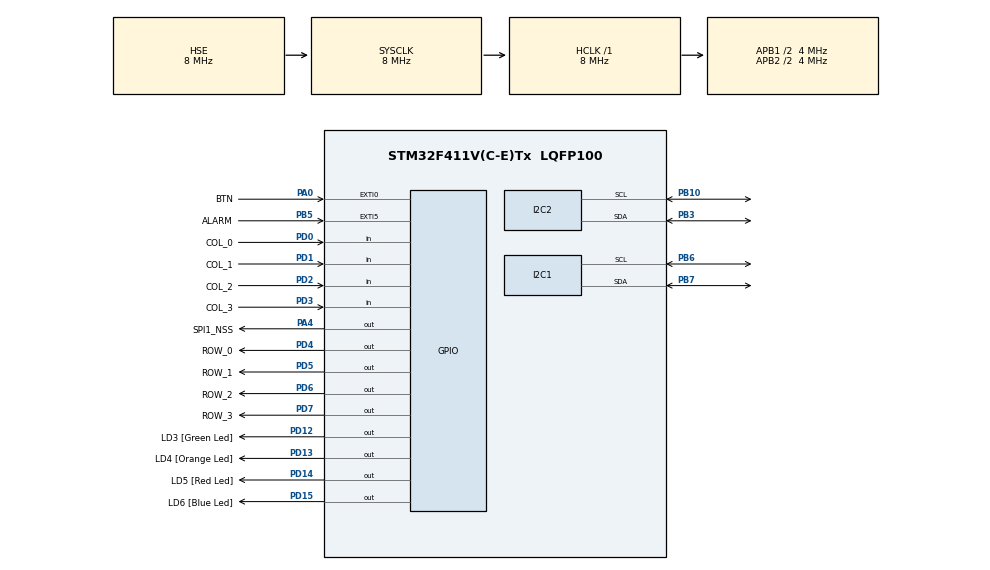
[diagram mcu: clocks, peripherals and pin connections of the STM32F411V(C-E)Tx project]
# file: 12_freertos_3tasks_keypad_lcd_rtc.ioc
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I2C2.DualAddressMode=I2C_DUALADDRESS_DISABLE
I2C2.GeneralCallMode=I2C_GENERALCALL_DISABLE
I2C2.I2C_Mode=I2C_Standard
I2C2.NoStretchMode=I2C_NOSTRETCH_ENABLE
Mcu.Family=STM32F4
Mcu.Name=STM32F411V(C-E)Tx
Mcu.Package=LQFP100
NVIC.EXTI0_IRQn=true\:8\:0\:true\:false\:true\:true\:true
NVIC.EXTI9_5_IRQn=true\:9\:0\:true\:false\:true\:true\:true
NVIC.PriorityGroup=NVIC_PRIORITYGROUP_4
NVIC.TIM5_IRQn=true\:15\:0\:true\:false\:true\:false\:true
NVIC.TimeBase=TIM5_IRQn
NVIC.TimeBaseIP=TIM5
PA0-WKUP.GPIO_Label=BTN
PA0-WKUP.Signal=GPXTI0
PA13.GPIO_Label=SWDIO
PA13.Signal=SYS_JTMS-SWDIO
PA14.GPIO_Label=SWCLK
PA14.Signal=SYS_JTCK-SWCLK
PA4.GPIO_Label=SPI1_NSS
PA4.GPIO_PuPd=GPIO_PULLDOWN
PA4.GPIO_Speed=GPIO_SPEED_FREQ_HIGH
PA4.PinState=GPIO_PIN_SET
PA4.Signal=GPIO_Output
PB10.GPIO_Pu=GPIO_PULLUP
PB10.Mode=I2C
PB10.Signal=I2C2_SCL
PB3.GPIO_Pu=GPIO_PULLUP
PB3.Mode=I2C
PB3.Signal=I2C2_SDA
PB5.GPIO_Label=ALARM
PB5.GPIO_ModeDefaultEXTI=GPIO_MODE_IT_FALLING
PB5.GPIO_PuPd=GPIO_PULLUP
PB5.Signal=GPXTI5
PB6.Mode=I2C
PB6.Signal=I2C1_SCL
PB7.Mode=I2C
PB7.Signal=I2C1_SDA
PD0.GPIO_Label=COL_0
PD0.GPIO_PuPd=GPIO_PULLDOWN
PD0.Signal=GPIO_Input
PD1.GPIO_Label=COL_1
PD1.GPIO_PuPd=GPIO_PULLDOWN
PD1.Signal=GPIO_Input
PD12.GPIO_Label=LD3 [Green Led]
PD12.GPIO_PuPd=GPIO_NOPULL
PD12.GPIO_Speed=GPIO_SPEED_FREQ_HIGH
PD12.Signal=GPIO_Output
PD13.GPIO_Label=LD4 [Orange Led]
PD13.GPIO_PuPd=GPIO_NOPULL
PD13.GPIO_Speed=GPIO_SPEED_FREQ_HIGH
PD13.Signal=GPIO_Output
PD14.GPIO_Label=LD5 [Red Led]
PD14.GPIO_PuPd=GPIO_NOPULL
PD14.GPIO_Speed=GPIO_SPEED_FREQ_HIGH
PD14.Signal=GPIO_Output
PD15.GPIO_Label=LD6 [Blue Led]
PD15.GPIO_PuPd=GPIO_NOPULL
PD15.GPIO_Speed=GPIO_SPEED_FREQ_HIGH
PD15.Signal=GPIO_Output
PD2.GPIO_Label=COL_2
PD2.GPIO_PuPd=GPIO_PULLDOWN
PD2.Signal=GPIO_Input
PD3.GPIO_Label=COL_3
PD3.GPIO_PuPd=GPIO_PULLDOWN
PD3.Signal=GPIO_Input
PD4.GPIO_Label=ROW_0
PD4.GPIO_PuPd=GPIO_PULLDOWN
PD4.GPIO_Speed=GPIO_SPEED_FREQ_HIGH
PD4.Signal=GPIO_Output
PD5.GPIO_Label=ROW_1
PD5.GPIO_PuPd=GPIO_PULLDOWN
PD5.GPIO_Speed=GPIO_SPEED_FREQ_HIGH
PD5.Signal=GPIO_Output
PD6.GPIO_Label=ROW_2
PD6.GPIO_PuPd=GPIO_PULLDOWN
PD6.GPIO_Speed=GPIO_SPEED_FREQ_HIGH
PD6.Signal=GPIO_Output
PD7.GPIO_Label=ROW_3
PD7.GPIO_PuPd=GPIO_PULLDOWN
PD7.GPIO_Speed=GPIO_SPEED_FREQ_HIGH
PD7.Signal=GPIO_Output
PH0\ -\ OSC_IN.Mode=HSE-External-Oscillator
PH0\ -\ OSC_IN.Signal=RCC_OSC_IN
PH1\ -\ OSC_OUT.Mode=HSE-External-Oscillator
PH1\ -\ OSC_OUT.Signal=RCC_OSC_OUT
ProjectManager.HeapSize=0x200
ProjectManager.StackSize=0x400
ProjectManager.TargetToolchain=STM32CubeIDE
RCC.48MHZClocksFreq_Value=50000000
RCC.AHBFreq_Value=8000000
RCC.APB1CLKDivider=RCC_HCLK_DIV2
RCC.APB1Freq_Value=4000000
RCC.APB1TimFreq_Value=8000000
RCC.APB2CLKDivider=RCC_HCLK_DIV2
RCC.APB2Freq_Value=4000000
RCC.APB2TimFreq_Value=8000000
RCC.CortexFreq_Value=8000000
RCC.HCLKFreq_Value=8000000
RCC.HSE_VALUE=8000000
RCC.HSI_VALUE=16000000
RCC.LSE_VALUE=32768
RCC.PLLI2SM=5
RCC.PLLI2SN=200
RCC.PLLM=4
RCC.PLLN=200
RCC.PLLP=RCC_PLLP_DIV4
RCC.PLLQ=8
RCC.PLLSourceVirtual=RCC_PLLSOURCE_HSE
RCC.SYSCLKFreq_VALUE=8000000
RCC.SYSCLKSource=RCC_SYSCLKSOURCE_HSE
RCC.VCOOutputFreq_Value=400000000
VP_SYS_VS_tim5.Mode=TIM5
board=STM32F411E-DISCO

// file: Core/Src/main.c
/* USER CODE BEGIN Header */
/**
 ******************************************************************************
 * @file           : main.c
 * @brief          : Main program body
 ******************************************************************************
 * @attention
 *
 * Copyright (c) 2023 STMicroelectronics.
 * All rights reserved.
 *
 * This software is licensed under terms that can be found in the LICENSE file
 * in the root directory of this software component.
 * If no LICENSE file comes with this software, it is provided AS-IS.
 *
 ******************************************************************************
 */

/*
 * ----------connect diagram----------------
 *
 *
 * KEYPAD 4X4	 			STM32F411
 * COL_0 (PIN_4)	--> 	PD0
 * COL_1 (PIN_3)	--> 	PD1
 * COL_2 (PIN_2)	--> 	PD2
 * COL_3 (PIN_1)	--> 	PD3
 * ROW_0 (PIN_8)	--> 	PD4
 * ROW_1 (PIN_7)	--> 	PD5
 * ROW_2 (PIN_6)	--> 	PD6
 * ROW_3 (PIN_5)	--> 	PD7
 *
 *
 * */
/* USER CODE END Header */
#include "main.h"

/* USER CODE BEGIN Includes */
#include "FreeRTOS.h"
#include "task.h"
#include <stdio.h>
#include "queue.h"
#include <string.h>

/* USER CODE END Includes */

I2C_HandleTypeDef hi2c1;
I2C_HandleTypeDef hi2c2;

/* USER CODE BEGIN PV */
#define DWT_CTRL    (*(volatile uint32_t*)0xE0001000)

TaskHandle_t keypad;
TaskHandle_t lcd;
TaskHandle_t rtc;

QueueHandle_t qdata_key;

uint8_t state0 = 0;

struct queue_user qtime;

RTC_time_t current_time;
RTC_date_t current_date;

RTC_time_t time_alarm1;
RTC_date_t date_alarm1;

struct state_machine state;

/* USER CODE END PV */

void SystemClock_Config(void);
static void MX_GPIO_Init(void);
static void MX_I2C1_Init(void);
static void MX_I2C2_Init(void);
/* USER CODE BEGIN PFP */

extern void SEGGER_SYSVIEW_Conf(void);
extern void SEGGER_SYSVIEW_Start(void);

void btn_user(void);
static void handle_keypad(void *parameters);
static void handle_lcd(void *parameters);
static void handle_rtc(void *parameters);

char* time_to_string(RTC_time_t *rtc_time);
char* date_to_string(RTC_date_t *rtc_date);
void day_to_string(uint8_t day, char *buf);
void am_pm_to_string(uint8_t am_pm, char *buf);

/* USER CODE END PFP */

/* USER CODE BEGIN 0 */
extern void SEGGER_UART_init(uint32_t);

/* USER CODE END 0 */

int main(void) {
	/* USER CODE BEGIN 1 */

	BaseType_t status;
	current_time.hours = 1;
	current_time.minutes = 1;
	current_time.seconds = 1;
	current_time.am_pm = 1;
	current_time.time_format = TIME_FORMAT_12HRS_PM;

	time_alarm1.hours = 1;
	time_alarm1.minutes = 1;
	time_alarm1.seconds = 1;
	time_alarm1.am_pm = 1;
	time_alarm1.time_format = TIME_FORMAT_12HRS_PM;
	date_alarm1.day = SUNDAY
	;

	current_date.day = SUNDAY
	;
	current_date.date = 1;
	current_date.month = 1;
	current_date.year = 1;

	/* USER CODE END 1 */

	/* MCU Configuration--------------------------------------------------------*/

	/* Reset of all peripherals, Initializes the Flash interface and the Systick. */
	HAL_Init();

	/* Configure the system clock */
	SystemClock_Config();

	/* Initialize all configured peripherals */
	MX_GPIO_Init();
	MX_I2C1_Init();
	MX_I2C2_Init();
	/* USER CODE BEGIN 2 */

	//Enable the CYCCNT counter.
	DWT_CTRL |= (1 << 0);

//	SEGGER_SYSVIEW_Conf();
//	SEGGER_SYSVIEW_Start();
//
//	SEGGER_UART_init(500000);
	lcd_init_i2c();
	lcd_display_clear_i2c();

	if (ds3231_init()) {
		printf("RTC init has failed\n");
		while (1)
			;
	}

	status = xTaskCreate(handle_keypad, "keypad_task", 500,
			"this is task keypad", 3, &keypad);
	configASSERT(status == pdPASS);

	status = xTaskCreate(handle_lcd, "lcd_task", 500, "this is task lcd", 3,
			&lcd);
	configASSERT(status == pdPASS);

	status = xTaskCreate(handle_rtc, "rtc_task", 500, "this is task rtc", 2,
			&rtc);
	configASSERT(status == pdPASS);

	qdata_key = xQueueCreate(1, sizeof(struct state_machine));
	if (qdata_key == NULL) {
		/* Queue was not created and must not be used. */
	}

	vTaskStartScheduler();
	/* USER CODE END 2 */

	/* Infinite loop */
	while (1) {

	}
}

void SystemClock_Config(void) {
	RCC_OscInitTypeDef RCC_OscInitStruct = { 0 };
	RCC_ClkInitTypeDef RCC_ClkInitStruct = { 0 };

	/** Configure the main internal regulator output voltage
	 */
	__HAL_RCC_PWR_CLK_ENABLE();
	__HAL_PWR_VOLTAGESCALING_CONFIG(PWR_REGULATOR_VOLTAGE_SCALE1);
	/** Initializes the RCC Oscillators according to the specified parameters
	 * in the RCC_OscInitTypeDef structure.
	 */
	RCC_OscInitStruct.OscillatorType = RCC_OSCILLATORTYPE_HSE;
	RCC_OscInitStruct.HSEState = RCC_HSE_ON;
	RCC_OscInitStruct.PLL.PLLState = RCC_PLL_NONE;
	if (HAL_RCC_OscConfig(&RCC_OscInitStruct) != HAL_OK) {
		Error_Handler();
	}
	/** Initializes the CPU, AHB and APB buses clocks
	 */
	RCC_ClkInitStruct.ClockType = RCC_CLOCKTYPE_HCLK | RCC_CLOCKTYPE_SYSCLK
			| RCC_CLOCKTYPE_PCLK1 | RCC_CLOCKTYPE_PCLK2;
	RCC_ClkInitStruct.SYSCLKSource = RCC_SYSCLKSOURCE_HSE;
	RCC_ClkInitStruct.AHBCLKDivider = RCC_SYSCLK_DIV1;
	RCC_ClkInitStruct.APB1CLKDivider = RCC_HCLK_DIV2;
	RCC_ClkInitStruct.APB2CLKDivider = RCC_HCLK_DIV2;

	if (HAL_RCC_ClockConfig(&RCC_ClkInitStruct, FLASH_LATENCY_0) != HAL_OK) {
		Error_Handler();
	}
}

static void MX_I2C1_Init(void) {

	hi2c1.Instance = I2C1;
	hi2c1.Init.ClockSpeed = 100000;
	hi2c1.Init.DutyCycle = I2C_DUTYCYCLE_2;
	hi2c1.Init.OwnAddress1 = 0;
	hi2c1.Init.AddressingMode = I2C_ADDRESSINGMODE_7BIT;
	hi2c1.Init.DualAddressMode = I2C_DUALADDRESS_DISABLE;
	hi2c1.Init.OwnAddress2 = 0;
	hi2c1.Init.GeneralCallMode = I2C_GENERALCALL_DISABLE;
	hi2c1.Init.NoStretchMode = I2C_NOSTRETCH_DISABLE;
	if (HAL_I2C_Init(&hi2c1) != HAL_OK) {
		Error_Handler();
	}

}

static void MX_I2C2_Init(void) {

	hi2c2.Instance = I2C2;
	hi2c2.Init.ClockSpeed = 100000;
	hi2c2.Init.DutyCycle = I2C_DUTYCYCLE_2;
	hi2c2.Init.OwnAddress1 = 0;
	hi2c2.Init.AddressingMode = I2C_ADDRESSINGMODE_7BIT;
	hi2c2.Init.DualAddressMode = I2C_DUALADDRESS_DISABLE;
	hi2c2.Init.OwnAddress2 = 0;
	hi2c2.Init.GeneralCallMode = I2C_GENERALCALL_DISABLE;
	hi2c2.Init.NoStretchMode = I2C_NOSTRETCH_ENABLE;
	if (HAL_I2C_Init(&hi2c2) != HAL_OK) {
		Error_Handler();
	}

}

static void MX_GPIO_Init(void) {
	GPIO_InitTypeDef GPIO_InitStruct = { 0 };

	/* GPIO Ports Clock Enable */
	__HAL_RCC_GPIOH_CLK_ENABLE();
	__HAL_RCC_GPIOA_CLK_ENABLE();
	__HAL_RCC_GPIOB_CLK_ENABLE();
	__HAL_RCC_GPIOD_CLK_ENABLE();

	/*Configure GPIO pin Output Level */
	HAL_GPIO_WritePin(SPI1_NSS_GPIO_Port, SPI1_NSS_Pin, GPIO_PIN_SET);

	/*Configure GPIO pin Output Level */
	HAL_GPIO_WritePin(GPIOD,
			LD3_Pin | LD4_Pin | LD5_Pin | LD6_Pin | ROW_0_Pin | ROW_1_Pin
					| ROW_2_Pin | ROW_3_Pin, GPIO_PIN_RESET);

	/*Configure GPIO pin : BTN_Pin */
	GPIO_InitStruct.Pin = BTN_Pin;
	GPIO_InitStruct.Mode = GPIO_MODE_IT_RISING;
	GPIO_InitStruct.Pull = GPIO_NOPULL;
	HAL_GPIO_Init(BTN_GPIO_Port, &GPIO_InitStruct);

	/*Configure GPIO pin : SPI1_NSS_Pin */
	GPIO_InitStruct.Pin = SPI1_NSS_Pin;
	GPIO_InitStruct.Mode = GPIO_MODE_OUTPUT_PP;
	GPIO_InitStruct.Pull = GPIO_PULLDOWN;
	GPIO_InitStruct.Speed = GPIO_SPEED_FREQ_HIGH;
	HAL_GPIO_Init(SPI1_NSS_GPIO_Port, &GPIO_InitStruct);

	/*Configure GPIO pins : LD3_Pin LD4_Pin LD5_Pin LD6_Pin */
	GPIO_InitStruct.Pin = LD3_Pin | LD4_Pin | LD5_Pin | LD6_Pin;
	GPIO_InitStruct.Mode = GPIO_MODE_OUTPUT_PP;
	GPIO_InitStruct.Pull = GPIO_NOPULL;
	GPIO_InitStruct.Speed = GPIO_SPEED_FREQ_HIGH;
	HAL_GPIO_Init(GPIOD, &GPIO_InitStruct);

	/*Configure GPIO pins : COL_0_Pin COL_1_Pin COL_2_Pin COL_3_Pin */
	GPIO_InitStruct.Pin = COL_0_Pin | COL_1_Pin | COL_2_Pin | COL_3_Pin;
	GPIO_InitStruct.Mode = GPIO_MODE_INPUT;
	GPIO_InitStruct.Pull = GPIO_PULLDOWN;
	HAL_GPIO_Init(GPIOD, &GPIO_InitStruct);

	/*Configure GPIO pins : ROW_0_Pin ROW_1_Pin ROW_2_Pin ROW_3_Pin */
	GPIO_InitStruct.Pin = ROW_0_Pin | ROW_1_Pin | ROW_2_Pin | ROW_3_Pin;
	GPIO_InitStruct.Mode = GPIO_MODE_OUTPUT_PP;
	GPIO_InitStruct.Pull = GPIO_PULLDOWN;
	GPIO_InitStruct.Speed = GPIO_SPEED_FREQ_HIGH;
	HAL_GPIO_Init(GPIOD, &GPIO_InitStruct);

	/*Configure GPIO pin : ALARM_Pin */
	GPIO_InitStruct.Pin = ALARM_Pin;
	GPIO_InitStruct.Mode = GPIO_MODE_IT_FALLING;
	GPIO_InitStruct.Pull = GPIO_PULLUP;
	HAL_GPIO_Init(ALARM_GPIO_Port, &GPIO_InitStruct);

	/* EXTI interrupt init*/
	HAL_NVIC_SetPriority(EXTI0_IRQn, 8, 0);
	HAL_NVIC_EnableIRQ(EXTI0_IRQn);

	HAL_NVIC_SetPriority(EXTI9_5_IRQn, 9, 0);
	HAL_NVIC_EnableIRQ(EXTI9_5_IRQn);

}

/* USER CODE BEGIN 4 */

void handle_keypad(void *parameters) {
	state.level = 0;
	state.en_send_number = 0;
	state.scroll = 0;
	state.position_cursor = 0;
	char key_read;
	while (1) {
		key_read = keypad_read();
		if (key_read == 'A') {
			if (state.level < 3) {
				state.level = state.level + 1;
				xQueueSend(qdata_key, (void* )&state, portMAX_DELAY);
			}

		} else if (key_read == 'B') {
			if (state.level > 0) {
				state.level = state.level - 1;
				xQueueSend(qdata_key, (void* )&state, portMAX_DELAY);
			}
		} else if (key_read == 'C') {
			if (state.level == 2) {
				state.scroll = (state.scroll + 1) % 3;
				xQueueSend(qdata_key, (void* )&state, portMAX_DELAY);
			}
		} else if (key_read == 'D') {
			if (state.level == 2) {
				state.scroll = (state.scroll + 2) % 3;
				xQueueSend(qdata_key, (void* )&state, portMAX_DELAY);
			}
		} else if (key_read == '*') {
			if (state.level == 3) {
				if (state.position_cursor == 3 || state.position_cursor == 6) {
					state.position_cursor = (state.position_cursor - 2) % 13;

				} else if (state.position_cursor == 10
						|| state.position_cursor == 0) {
					state.position_cursor = (state.position_cursor + 10) % 13;

				} else {
					state.position_cursor = (state.position_cursor - 1) % 13;
				}
				xQueueSend(qdata_key, (void* )&state, portMAX_DELAY);
			}
		} else if (key_read == '#') {
			if (state.level == 3) {
				if (state.position_cursor == 1 || state.position_cursor == 4) {
					state.position_cursor = (state.position_cursor + 2) % 13;

				} else if (state.position_cursor == 7
						|| state.position_cursor == 10) {
					state.position_cursor = (state.position_cursor + 3) % 13;

				} else {
					state.position_cursor = (state.position_cursor + 1) % 13;
				}
				xQueueSend(qdata_key, (void* )&state, portMAX_DELAY);
			}
		} else if (key_read == 'x') {

		} else {
			if (state.level == 3) {
				state.number = check_key(key_read);
				state.en_send_number = 1;
				xQueueSend(qdata_key, (void* )&state, portMAX_DELAY);

				if (state.position_cursor == 1 || state.position_cursor == 4) {
					state.position_cursor = (state.position_cursor + 2) % 13;

				} else if (state.position_cursor == 7
						|| state.position_cursor == 10) {
					state.position_cursor = (state.position_cursor + 3) % 13;

				} else {
					state.position_cursor = (state.position_cursor + 1) % 13;
				}
				state.en_send_number = 0;
			}
		}
		vTaskDelay(pdMS_TO_TICKS(50));
	}
}

void handle_lcd(void *parameters) {
	struct state_machine data_receive;

	//current time variable
	uint8_t number_array[7] = { 0 };
	uint8_t temp = 0;

	//current day variable
	uint8_t number_array_day[7] = { 0 };
	number_array_day[6] = 1;
	uint8_t temp_day = 0;

	//alarm time variable
	uint8_t temp_al = 0;
	uint8_t number_array_al[7] = { 0 };

	data_receive.level = 0;
	data_receive.en_send_number = 0;
	data_receive.scroll = 0;

	char string_l1_r0[] = "A:set  B:return";
	char string_l1_r1[] = "C:left D:right";
	char string_l2_s0_r0[] = "set current time";
//	char string_l2_s0_r1[] = "format 12 hours";

	char string_l2_s1_r0[] = "set day-date";
	char string_l2_s2_r0[] = "set alarm time";
	char string_l3_s0_r0[] = "hh:mm:ss <AM/PM>";
	char string_l3_s1_r0[] = "dd:mm:yy <day>";
	char string_l3_s2_r0[] = "hh:mm:ss <AM/PM>";

	lcd_display_clear_i2c();
	lcd_display_return_home_i2c();

	ds3231_set_current_time(&current_time);
	ds3231_set_current_date(&current_date);

	ds3231_get_current_time(&current_time);
	ds3231_get_current_date(&current_date);

	lcd_send_string(time_to_string(&current_time));
	lcd_put_cur(2, 1);
	lcd_send_string(date_to_string(&current_date));
	vTaskSuspend(rtc);

	while (1) {
		if (qdata_key != NULL) {
			if (xQueueReceive(qdata_key, &data_receive,
					(TickType_t) 100) == pdPASS) {
				lcd_send_cmd(0x0C);

				if (data_receive.level == 0) {
					lcd_display_clear_i2c();
					lcd_display_return_home_i2c();
					vTaskResume(rtc);
				}
				if (data_receive.level == 1) {
					vTaskSuspend(rtc);
					lcd_display_clear_i2c();
					lcd_display_return_home_i2c();
					lcd_send_string(string_l1_r0);
					lcd_put_cur(2, 1);
					lcd_send_string(string_l1_r1);
				}
				if (data_receive.level == 2) {
					lcd_display_clear_i2c();
					lcd_display_return_home_i2c();
					if (data_receive.scroll == 0) {
						lcd_send_string(string_l2_s0_r0);
//						lcd_put_cur(2, 1);
//						lcd_send_string(string_l2_s0_r1);
					}
					if (data_receive.scroll == 1) {
						lcd_send_string(string_l2_s1_r0);
					}
					if (data_receive.scroll == 2) {
						lcd_send_string(string_l2_s2_r0);
					}
				}
				if (data_receive.level == 3) {
					lcd_display_clear_i2c();
					lcd_display_return_home_i2c();

					if (data_receive.scroll == 0) {
						lcd_send_string(string_l3_s0_r0);
						lcd_put_cur(2, 1);
						lcd_send_string(time_to_string(&current_time));
						temp = data_receive.position_cursor + 1;

						if (data_receive.en_send_number == 1) {
							if (data_receive.position_cursor < 2) {
								number_array[data_receive.position_cursor] =
										data_receive.number;

							} else if (data_receive.position_cursor < 5
									&& data_receive.position_cursor > 2) {
								number_array[data_receive.position_cursor - 1] =
										data_receive.number;

							} else if (data_receive.position_cursor < 8
									&& data_receive.position_cursor > 5) {
								number_array[data_receive.position_cursor - 2] =
										data_receive.number;
							} else {
								number_array[6] = data_receive.number;
							}
							current_time.hours = number_array[0] * 10
									+ number_array[1];
							current_time.minutes = number_array[2] * 10
									+ number_array[3];
							current_time.seconds = number_array[4] * 10
									+ number_array[5];
							current_time.time_format = number_array[6];

							ds3231_set_current_time(&current_time);

							lcd_put_cur(2, 1);
							lcd_send_string(time_to_string(&current_time));

							if (temp == 2 || temp == 5) {
								lcd_put_cur(2, temp + 2);
							} else if (temp == 8) {
								lcd_put_cur(2, temp + 3);
							} else if (temp == 11) {
								lcd_put_cur(2, 1);
							} else {
								lcd_put_cur(2, temp + 1);
							}
						} else {

							lcd_put_cur(2, 1);
							lcd_send_string(time_to_string(&current_time));
							lcd_put_cur(2, temp);

						}

						data_receive.en_send_number = 0;
						//blink cursor on lcd
						lcd_send_cmd(0x0F);
					}

					if (data_receive.scroll == 1) {
						lcd_send_string(string_l3_s1_r0);
						lcd_put_cur(2, 1);
						lcd_send_string(date_to_string(&current_date));
						temp_day = data_receive.position_cursor + 1;

						if (data_receive.en_send_number == 1) {
							if (data_receive.position_cursor < 2) {
								number_array_day[data_receive.position_cursor] =
										data_receive.number;
							} else if (data_receive.position_cursor < 5
									&& data_receive.position_cursor > 2) {
								number_array_day[data_receive.position_cursor
										- 1] = data_receive.number;
							} else if (data_receive.position_cursor < 8
									&& data_receive.position_cursor > 5) {
								number_array_day[data_receive.position_cursor
										- 2] = data_receive.number;
							} else {
								number_array_day[6] = data_receive.number;

							}

							current_date.date = number_array_day[0] * 10
									+ number_array_day[1];
							current_date.month = number_array_day[2] * 10
									+ number_array_day[3];
							current_date.year = number_array_day[4] * 10
									+ number_array_day[5];
							current_date.day = number_array_day[6];
							ds3231_set_current_date(&current_date);

							lcd_put_cur(2, 1);
							lcd_send_string(date_to_string(&current_date));
							if (temp_day == 2 || temp_day == 5) {
								lcd_put_cur(2, temp_day + 2);
							} else if (temp_day == 8) {
								lcd_put_cur(2, temp_day + 3);
							} else if (temp_day == 11) {
								lcd_put_cur(2, 1);
							} else {
								lcd_put_cur(2, temp_day + 1);
							}
						} else {
							lcd_put_cur(2, 1);
							lcd_send_string(date_to_string(&current_date));
							lcd_put_cur(2, temp_day);
						}

						data_receive.en_send_number = 0;
						//blink cursor on lcd
						lcd_send_cmd(0x0F);
					}

					if (data_receive.scroll == 2) {
						lcd_send_string(string_l3_s2_r0);
						lcd_put_cur(2, 1);
						lcd_send_string(time_to_string(&time_alarm1));
						temp_al = data_receive.position_cursor + 1;

						if (data_receive.en_send_number == 1) {
							if (data_receive.position_cursor < 2) {
								number_array_al[data_receive.position_cursor] =
										data_receive.number;

							} else if (data_receive.position_cursor < 5
									&& data_receive.position_cursor > 2) {
								number_array_al[data_receive.position_cursor - 1] =
										data_receive.number;

							} else if (data_receive.position_cursor < 8
									&& data_receive.position_cursor > 5) {
								number_array_al[data_receive.position_cursor - 2] =
										data_receive.number;

							} else {
								number_array_al[6] = data_receive.number;

							}

							time_alarm1.hours = number_array_al[0] * 10
									+ number_array_al[1];
							time_alarm1.minutes = number_array_al[2] * 10
									+ number_array_al[3];
							time_alarm1.seconds = number_array_al[4] * 10
									+ number_array_al[5];
							time_alarm1.am_pm = number_array_al[6];
							ds3231_set_time_alarm1(&time_alarm1, &date_alarm1,
									DS3231_MB_AL1_3);
							lcd_put_cur(2, 1);
							lcd_send_string(time_to_string(&time_alarm1));

							if (temp_al == 2 || temp_al == 5) {
								lcd_put_cur(2, temp_al + 2);
							} else if (temp_al == 8) {
								lcd_put_cur(2, temp_al + 3);
							} else if (temp_al == 11) {
								lcd_put_cur(2, 1);
							} else {
								lcd_put_cur(2, temp_al + 1);
							}
						} else {

							lcd_put_cur(2, 1);
							lcd_send_string(time_to_string(&time_alarm1));
							lcd_put_cur(2, temp_al);

						}

						data_receive.en_send_number = 0;
						//blink cursor on lcd
						lcd_send_cmd(0x0F);
					}
				}
			}
		}

	}
}
void handle_rtc(void *parameters) {
//	TickType_t xLastWakeTime;
//	const TickType_t xFrequency = 1000;
//	xLastWakeTime = xTaskGetTickCount();

	while (1) {
		ds3231_get_current_time(&current_time);
		ds3231_get_current_date(&current_date);
		lcd_display_return_home_i2c();
		lcd_send_string(time_to_string(&current_time));
		lcd_put_cur(2, 1);
		lcd_send_string(date_to_string(&current_date));
		vTaskDelay(pdMS_TO_TICKS(1000));
	}
}

void number_to_string(uint8_t num, char *buf) {

	if (num < 10) {
		buf[0] = '0';
		buf[1] = num + 48;
	} else if (num >= 10 && num <= 99) {
		buf[0] = (num / 10) + 48;
		buf[1] = (num % 10) + 48;
	}
}
void am_pm_to_string(uint8_t am_pm, char *buf) {

	switch (am_pm) {
	case 0:
		buf[0] = 'A';
		buf[1] = 'M';

		break;
	case 1:
		buf[0] = 'P';
		buf[1] = 'M';
		break;
	}
}
void day_to_string(uint8_t day, char *buf) {

	switch (day) {
	case 1:
		buf[0] = 'S';
		buf[1] = 'u';
		buf[2] = 'n';

		break;
	case 2:
		buf[0] = 'M';
		buf[1] = 'o';
		buf[2] = 'n';
		break;
	case 3:
		buf[0] = 'T';
		buf[1] = 'u';
		buf[2] = 'e';
		break;
	case 4:
		buf[0] = 'W';
		buf[1] = 'e';
		buf[2] = 'd';

		break;
	case 5:
		buf[0] = 'T';
		buf[1] = 'h';
		buf[2] = 'u';
		break;
	case 6:
		buf[0] = 'F';
		buf[1] = 'r';
		buf[2] = 'i';
		break;
	case 7:
		buf[0] = 'S';
		buf[1] = 'a';
		buf[2] = 't';
		break;
	}
}
//hh:mm:ss
char* time_to_string(RTC_time_t *rtc_time) {
	static char buf[14];

	buf[2] = ':';
	buf[5] = ':';
	buf[8] = ' ';
	buf[9] = '<';
	buf[12] = '>';
	number_to_string(rtc_time->hours, buf);
	number_to_string(rtc_time->minutes, &buf[3]);
	number_to_string(rtc_time->seconds, &buf[6]);
	if (rtc_time->time_format != TIME_FORMAT_24HRS) {
		am_pm_to_string(rtc_time->time_format, &buf[10]);
	}
	buf[13] = '\0';

	return buf;

}

//dd/mm/yy
char* date_to_string(RTC_date_t *rtc_date) {
	static char buf[15];

	buf[2] = '/';
	buf[5] = '/';
	buf[8] = ' ';
	buf[9] = '<';
	buf[13] = '>';
	number_to_string(rtc_date->date, buf);
	number_to_string(rtc_date->month, &buf[3]);
	number_to_string(rtc_date->year, &buf[6]);
	day_to_string(rtc_date->day, &buf[10]);
	buf[14] = '\0';

	return buf;

}

void alarm(void) {
	HAL_GPIO_WritePin(GPIOD, LD3_Pin, GPIO_PIN_SET);

	//RESET ALARM SIGNAL
	ds3231_clear_sr();
}

void btn_off_alarm(void)
{
	HAL_GPIO_WritePin(GPIOD, LD3_Pin, GPIO_PIN_RESET);
//	HAL_GPIO_TogglePin(LD3_GPIO_Port, LD3_Pin);

}

/* USER CODE END 4 */

void HAL_TIM_PeriodElapsedCallback(TIM_HandleTypeDef *htim) {
	if (htim->Instance == TIM5) {
		HAL_IncTick();
	}
}

void Error_Handler(void) {
	__disable_irq();
	while (1) {
	}
}
